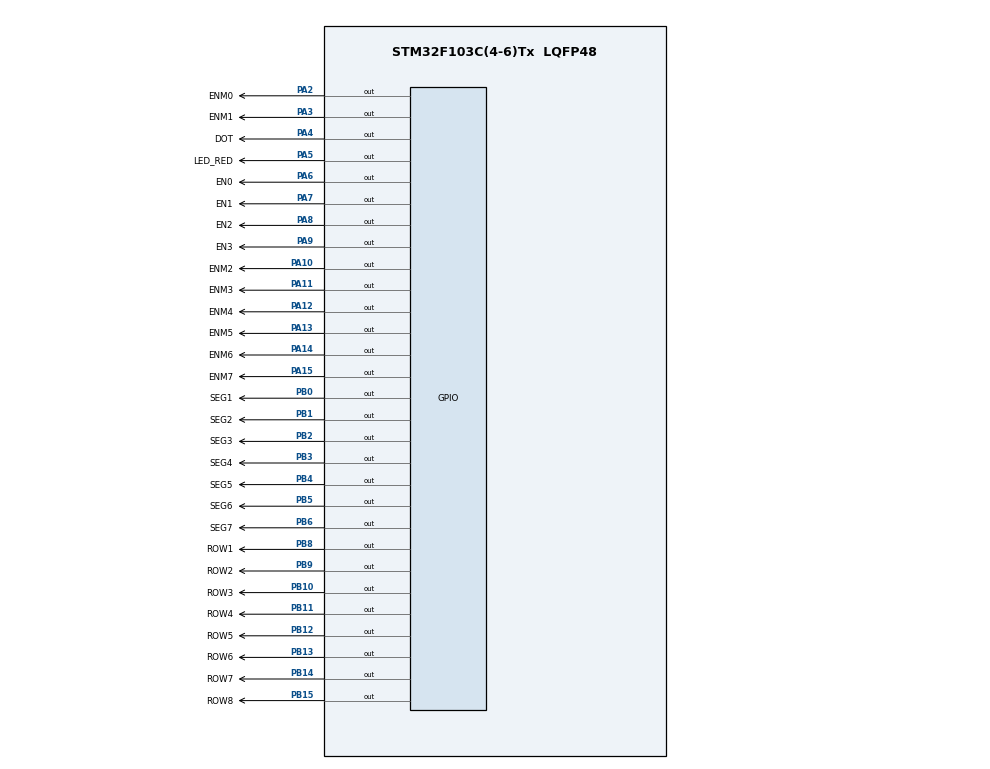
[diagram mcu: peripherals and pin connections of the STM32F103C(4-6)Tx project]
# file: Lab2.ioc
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Mcu.Family=STM32F1
Mcu.Name=STM32F103C(4-6)Tx
Mcu.Package=LQFP48
NVIC.PriorityGroup=NVIC_PRIORITYGROUP_4
NVIC.TIM2_IRQn=true\:0\:0\:false\:false\:true\:true\:true
PA10.GPIO_Label=ENM2
PA10.Signal=GPIO_Output
PA11.GPIO_Label=ENM3
PA11.Signal=GPIO_Output
PA12.GPIO_Label=ENM4
PA12.Signal=GPIO_Output
PA13.GPIO_Label=ENM5
PA13.Signal=GPIO_Output
PA14.GPIO_Label=ENM6
PA14.Signal=GPIO_Output
PA15.GPIO_Label=ENM7
PA15.Signal=GPIO_Output
PA2.GPIO_Label=ENM0
PA2.Signal=GPIO_Output
PA3.GPIO_Label=ENM1
PA3.Signal=GPIO_Output
PA4.GPIO_Label=DOT
PA4.Signal=GPIO_Output
PA5.GPIO_Label=LED_RED
PA5.Signal=GPIO_Output
PA6.GPIO_Label=EN0
PA6.Signal=GPIO_Output
PA7.GPIO_Label=EN1
PA7.Signal=GPIO_Output
PA8.GPIO_Label=EN2
PA8.Signal=GPIO_Output
PA9.GPIO_Label=EN3
PA9.Signal=GPIO_Output
PB0.GPIO_Label=SEG1
PB0.Signal=GPIO_Output
PB1.GPIO_Label=SEG2
PB1.Signal=GPIO_Output
PB10.GPIO_Label=ROW3
PB10.Signal=GPIO_Output
PB11.GPIO_Label=ROW4
PB11.Signal=GPIO_Output
PB12.GPIO_Label=ROW5
PB12.Signal=GPIO_Output
PB13.GPIO_Label=ROW6
PB13.Signal=GPIO_Output
PB14.GPIO_Label=ROW7
PB14.Signal=GPIO_Output
PB15.GPIO_Label=ROW8
PB15.Signal=GPIO_Output
PB2.GPIO_Label=SEG3
PB2.Signal=GPIO_Output
PB3.GPIO_Label=SEG4
PB3.Signal=GPIO_Output
PB4.GPIO_Label=SEG5
PB4.Signal=GPIO_Output
PB5.GPIO_Label=SEG6
PB5.Signal=GPIO_Output
PB6.GPIO_Label=SEG7
PB6.Signal=GPIO_Output
PB8.GPIO_Label=ROW1
PB8.Signal=GPIO_Output
PB9.GPIO_Label=ROW2
PB9.Signal=GPIO_Output
ProjectManager.HeapSize=0x200
ProjectManager.StackSize=0x400
ProjectManager.TargetToolchain=STM32CubeIDE
RCC.APB1Freq_Value=8000000
RCC.APB2Freq_Value=8000000
TIM2.Period=9
TIM2.Prescaler=7999
VP_SYS_VS_ND.Mode=No_Debug
VP_TIM2_VS_ClockSourceINT.Mode=Internal
board=custom

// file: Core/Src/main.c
/* USER CODE BEGIN Header */
/**
  ******************************************************************************
  * @file           : main.c
  * @brief          : Main program body
  ******************************************************************************
  * @attention
  *
  * <h2><center>&copy; Copyright (c) 2024 STMicroelectronics.
  * All rights reserved.</center></h2>
  *
  * This software component is licensed by ST under BSD 3-Clause license,
  * the "License"; You may not use this file except in compliance with the
  * License. You may obtain a copy of the License at:
  *                        opensource.org/licenses/BSD-3-Clause
  *
  ******************************************************************************
  */
/* USER CODE END Header */
#include "main.h"

/* USER CODE BEGIN Includes */
#include <software_timer.h>
/* USER CODE END Includes */

TIM_HandleTypeDef htim2;

/* USER CODE BEGIN PV */
const int MAX_LED = 4;
int index_led = 0;
int led_buffer[4] = {1,2,3,4};
int hour = 19, minute = 59, second = 55;

/* USER CODE END PV */

void SystemClock_Config(void);
static void MX_GPIO_Init(void);
static void MX_TIM2_Init(void);

/* USER CODE BEGIN 0 */
void display7SEG(int num)
{
	  char segNumber[10] = {0xC0, 0xF9, 0xA4, 0xB0, 0x99, 0x92, 0x82, 0xF8, 0x80, 0x90};

	  HAL_GPIO_WritePin(GPIOB, GPIO_PIN_0, (segNumber[num] >> 0) & 1);
	  HAL_GPIO_WritePin(GPIOB, GPIO_PIN_1, (segNumber[num] >> 1) & 1);
	  HAL_GPIO_WritePin(GPIOB, GPIO_PIN_2, (segNumber[num] >> 2) & 1);
	  HAL_GPIO_WritePin(GPIOB, GPIO_PIN_3, (segNumber[num] >> 3) & 1);
	  HAL_GPIO_WritePin(GPIOB, GPIO_PIN_4, (segNumber[num] >> 4) & 1);
	  HAL_GPIO_WritePin(GPIOB, GPIO_PIN_5, (segNumber[num] >> 5) & 1);
	  HAL_GPIO_WritePin(GPIOB, GPIO_PIN_6, (segNumber[num] >> 6) & 1);
}
void offPin()
{
	  HAL_GPIO_WritePin(EN0_GPIO_Port, EN0_Pin, SET);
	  HAL_GPIO_WritePin(EN1_GPIO_Port, EN1_Pin, SET);
	  HAL_GPIO_WritePin(EN2_GPIO_Port, EN2_Pin, SET);
	  HAL_GPIO_WritePin(EN3_GPIO_Port, EN3_Pin, SET);
}

void update7SEG(int index)
{
	  offPin();
	  switch(index)
	  {
		  case 0:
		  {
			  display7SEG(led_buffer[0]);
			  HAL_GPIO_WritePin(EN0_GPIO_Port, EN0_Pin, RESET);
			  break;
		  }
		  case 1:
		  {
			  display7SEG(led_buffer[1]);
			  HAL_GPIO_WritePin(EN1_GPIO_Port, EN1_Pin, RESET);
			  break;
		  }
		  case 2:
		  {
			  display7SEG(led_buffer[2]);
			  HAL_GPIO_WritePin(EN2_GPIO_Port, EN2_Pin, RESET);
			  break;
		  }
		  case 3:
		  {
			  display7SEG(led_buffer[3]);
			  HAL_GPIO_WritePin(EN3_GPIO_Port, EN3_Pin, RESET);
			  break;
		  }
	  }
}

void updateClockBuffer()
{
	  led_buffer[0] = hour/10;
	  led_buffer[1] = hour%10;
	  led_buffer[2] = minute/10;
	  led_buffer[3] = minute%10;
}
/* USER CODE END 0 */

int main(void)
{

  /* MCU Configuration--------------------------------------------------------*/

  /* Reset of all peripherals, Initializes the Flash interface and the Systick. */
  HAL_Init();

  /* Configure the system clock */
  SystemClock_Config();

  /* Initialize all configured peripherals */
  MX_GPIO_Init();
  MX_TIM2_Init();
  /* USER CODE BEGIN 2 */
  HAL_TIM_Base_Start_IT(&htim2);
  /* USER CODE END 2 */

  /* Infinite loop */
  /* USER CODE BEGIN WHILE */

  setTimer(0,250);
  setTimer(1,1000);
  while (1)
  {
	  if(timer_flag[0] == 1)
	  {
		  updateClockBuffer();
		  update7SEG(index_led++);
		  if (index_led >= MAX_LED)
		  {
			  index_led = 0;
		  }
		  setTimer(0,250);
	  }
	  if(timer_flag[1] == 1)
	  {
		  second++;
		  if(second >= 60)
		  {
			  second = 0;
			  minute++;
		  }
		  if(minute >= 60)
		  {
			  minute = 0;
			  hour++;
		  }
		  if(hour >= 24)
		  {
			  hour = 0;
		  }
		  updateClockBuffer();
		  HAL_GPIO_TogglePin(LED_RED_GPIO_Port, LED_RED_Pin);
		  HAL_GPIO_TogglePin(DOT_GPIO_Port, DOT_Pin);
		  setTimer(1,1000);
	  }

    /* USER CODE END WHILE */

  }
}

void SystemClock_Config(void)
{
  RCC_OscInitTypeDef RCC_OscInitStruct = {0};
  RCC_ClkInitTypeDef RCC_ClkInitStruct = {0};

  /** Initializes the RCC Oscillators according to the specified parameters
  * in the RCC_OscInitTypeDef structure.
  */
  RCC_OscInitStruct.OscillatorType = RCC_OSCILLATORTYPE_HSI;
  RCC_OscInitStruct.HSIState = RCC_HSI_ON;
  RCC_OscInitStruct.HSICalibrationValue = RCC_HSICALIBRATION_DEFAULT;
  RCC_OscInitStruct.PLL.PLLState = RCC_PLL_NONE;
  if (HAL_RCC_OscConfig(&RCC_OscInitStruct) != HAL_OK)
  {
    Error_Handler();
  }
  /** Initializes the CPU, AHB and APB buses clocks
  */
  RCC_ClkInitStruct.ClockType = RCC_CLOCKTYPE_HCLK|RCC_CLOCKTYPE_SYSCLK
                              |RCC_CLOCKTYPE_PCLK1|RCC_CLOCKTYPE_PCLK2;
  RCC_ClkInitStruct.SYSCLKSource = RCC_SYSCLKSOURCE_HSI;
  RCC_ClkInitStruct.AHBCLKDivider = RCC_SYSCLK_DIV1;
  RCC_ClkInitStruct.APB1CLKDivider = RCC_HCLK_DIV1;
  RCC_ClkInitStruct.APB2CLKDivider = RCC_HCLK_DIV1;

  if (HAL_RCC_ClockConfig(&RCC_ClkInitStruct, FLASH_LATENCY_0) != HAL_OK)
  {
    Error_Handler();
  }
}

static void MX_TIM2_Init(void)
{

  TIM_ClockConfigTypeDef sClockSourceConfig = {0};
  TIM_MasterConfigTypeDef sMasterConfig = {0};

  htim2.Instance = TIM2;
  htim2.Init.Prescaler = 7999;
  htim2.Init.CounterMode = TIM_COUNTERMODE_UP;
  htim2.Init.Period = 9;
  htim2.Init.ClockDivision = TIM_CLOCKDIVISION_DIV1;
  htim2.Init.AutoReloadPreload = TIM_AUTORELOAD_PRELOAD_DISABLE;
  if (HAL_TIM_Base_Init(&htim2) != HAL_OK)
  {
    Error_Handler();
  }
  sClockSourceConfig.ClockSource = TIM_CLOCKSOURCE_INTERNAL;
  if (HAL_TIM_ConfigClockSource(&htim2, &sClockSourceConfig) != HAL_OK)
  {
    Error_Handler();
  }
  sMasterConfig.MasterOutputTrigger = TIM_TRGO_RESET;
  sMasterConfig.MasterSlaveMode = TIM_MASTERSLAVEMODE_DISABLE;
  if (HAL_TIMEx_MasterConfigSynchronization(&htim2, &sMasterConfig) != HAL_OK)
  {
    Error_Handler();
  }

}

static void MX_GPIO_Init(void)
{
  GPIO_InitTypeDef GPIO_InitStruct = {0};

  /* GPIO Ports Clock Enable */
  __HAL_RCC_GPIOA_CLK_ENABLE();
  __HAL_RCC_GPIOB_CLK_ENABLE();

  /*Configure GPIO pin Output Level */
  HAL_GPIO_WritePin(GPIOA, DOT_Pin|LED_RED_Pin|EN0_Pin|EN1_Pin
                          |EN2_Pin|EN3_Pin, GPIO_PIN_RESET);

  /*Configure GPIO pin Output Level */
  HAL_GPIO_WritePin(GPIOB, SEG1_Pin|SEG2_Pin|SEG3_Pin|SEG4_Pin
                          |SEG5_Pin|SEG6_Pin|SEG7_Pin, GPIO_PIN_RESET);

  /*Configure GPIO pins : DOT_Pin LED_RED_Pin EN0_Pin EN1_Pin
                           EN2_Pin EN3_Pin */
  GPIO_InitStruct.Pin = DOT_Pin|LED_RED_Pin|EN0_Pin|EN1_Pin
                          |EN2_Pin|EN3_Pin;
  GPIO_InitStruct.Mode = GPIO_MODE_OUTPUT_PP;
  GPIO_InitStruct.Pull = GPIO_NOPULL;
  GPIO_InitStruct.Speed = GPIO_SPEED_FREQ_LOW;
  HAL_GPIO_Init(GPIOA, &GPIO_InitStruct);

  /*Configure GPIO pins : SEG1_Pin SEG2_Pin SEG3_Pin SEG4_Pin
                           SEG5_Pin SEG6_Pin SEG7_Pin */
  GPIO_InitStruct.Pin = SEG1_Pin|SEG2_Pin|SEG3_Pin|SEG4_Pin
                          |SEG5_Pin|SEG6_Pin|SEG7_Pin;
  GPIO_InitStruct.Mode = GPIO_MODE_OUTPUT_PP;
  GPIO_InitStruct.Pull = GPIO_NOPULL;
  GPIO_InitStruct.Speed = GPIO_SPEED_FREQ_LOW;
  HAL_GPIO_Init(GPIOB, &GPIO_InitStruct);

}

/* USER CODE BEGIN 4 */
void HAL_TIM_PeriodElapsedCallback(TIM_HandleTypeDef * htim)
{
	timerRun();
}
/* USER CODE END 4 */

void Error_Handler(void)
{
  __disable_irq();
  while (1)
  {
  }
}

/************************ (C) COPYRIGHT STMicroelectronics *****END OF FILE****/
